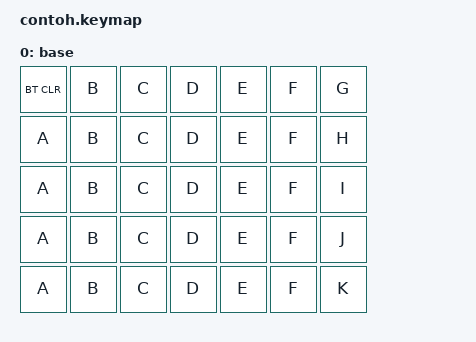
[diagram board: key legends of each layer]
#include <behaviors.dtsi>
#include <dt-bindings/zmk/keys.h>

#define BASE 0

/ {
    keymap {
        compatible = "zmk,keymap";

        base {
            bindings = <
&bt BT_CLR  &kp B  &kp C  &kp D  &kp E  &kp F  &kp G
&kp A  &kp B  &kp C  &kp D  &kp E  &kp F  &kp H
&kp A  &kp B  &kp C  &kp D  &kp E  &kp F  &kp I
&kp A  &kp B  &kp C  &kp D  &kp E  &kp F  &kp J
&kp A  &kp B  &kp C  &kp D  &kp E  &kp F  &kp K
            >;
        };
    };
};
